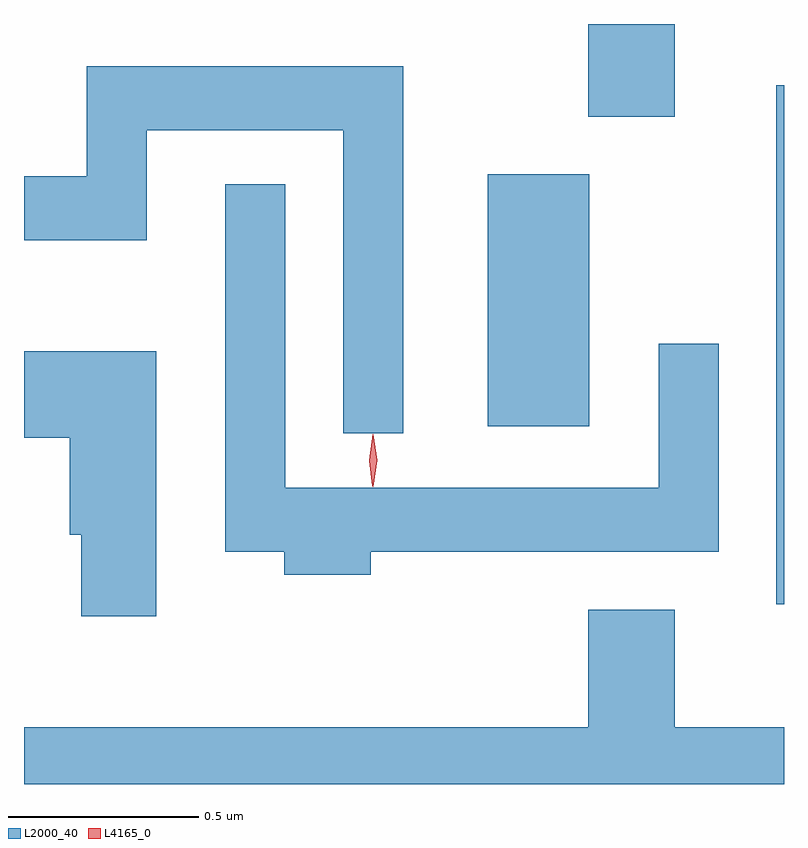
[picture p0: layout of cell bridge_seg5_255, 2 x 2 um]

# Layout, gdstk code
import gdstk
lib = gdstk.Library(unit=1e-6, precision=1e-09)
def R(c, l, rs):  # rectangles x0, y0, x1, y1
    for r in rs: c.add(gdstk.rectangle(r[:2], r[2:], *l))
def P(c, l, *ps):  # polygons
    for p in ps: c.add(gdstk.Polygon(p, *l))
L2000_40 = (2000, 40)
L4165_0 = (4165, 0)

bridge_seg5_255 = lib.new_cell('bridge_seg5_255')
R(bridge_seg5_255, L2000_40, [(1332.306,1432.968,1332.326,1434.334), (1331.546,1433.436,1331.814,1434.099), (1331.811,1434.251,1332.039,1434.495)])
P(bridge_seg5_255, L2000_40, [(1331.324,1434.384),(1330.491,1434.384),(1330.491,1434.094),(1330.326,1434.094),(1330.326,1433.926),(1330.649,1433.926),(1330.649,1434.216),(1331.166,1434.216),(1331.166,1433.418),(1331.324,1433.418)],
  [(1331.239,1433.106),(1332.154,1433.106),(1332.154,1433.653),(1331.996,1433.653),(1331.996,1433.274),(1331.014,1433.274),(1331.014,1434.073),(1330.856,1434.073),(1330.856,1433.106),(1331.011,1433.106),(1331.011,1433.046),(1331.239,1433.046)],
  [(1330.674,1433.634),(1330.326,1433.634),(1330.326,1433.406),(1330.446,1433.406),(1330.446,1433.151),(1330.476,1433.151),(1330.476,1432.936),(1330.674,1432.936)],
  [(1332.326,1432.644),(1332.039,1432.644),(1332.039,1432.954),(1331.811,1432.954),(1331.811,1432.644),(1330.326,1432.644),(1330.326,1432.495),(1332.326,1432.495)])
P(bridge_seg5_255, L4165_0, [(1331.244,1433.277),(1331.235,1433.347),(1331.244,1433.416),(1331.245,1433.416),(1331.245,1433.416),(1331.255,1433.347),(1331.245,1433.277),(1331.245,1433.277)],
  [(1331.243,1433.28),(1331.234,1433.346),(1331.244,1433.412),(1331.244,1433.413),(1331.245,1433.412),(1331.254,1433.346),(1331.244,1433.28),(1331.244,1433.28)])

lib.write_gds('bridge_seg5_255.gds')
